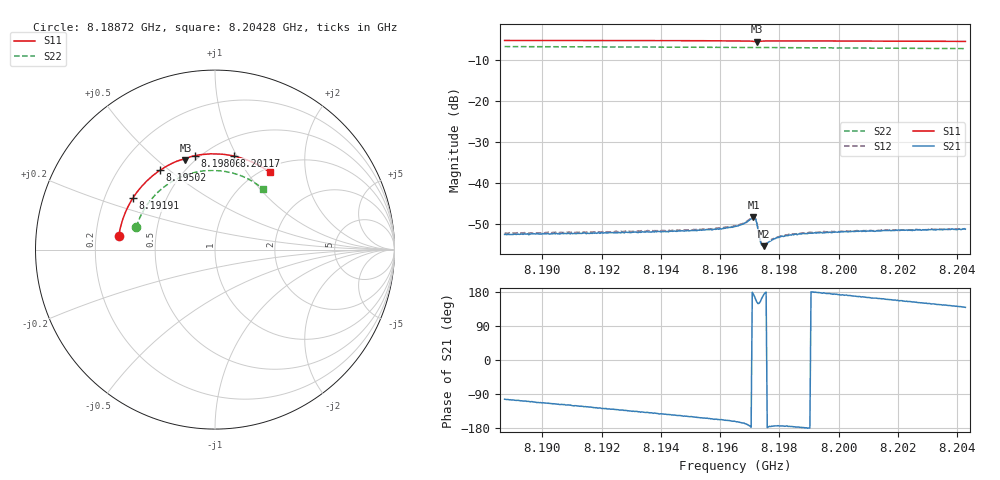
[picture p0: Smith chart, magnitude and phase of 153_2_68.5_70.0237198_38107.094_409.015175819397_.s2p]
#  HZ  S  RI  R  50.00
! Rohde & Schwarz Vector Network Analyzer
! Rohde-Schwarz,ZNB20-2Port,1311601062101988,3.16
! Created: UTC 3/20/2024, 4:55:22 PM
! freq[Hz]  re:S11  im:S11  re:S21  im:S21  re:S12  im:S12  re:S22  im:S22
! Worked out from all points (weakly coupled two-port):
!   401 points, 8.18872 GHz to 8.20428 GHz, reference 50 ohm
!   highest |S21| = -48.36 dB at 8.19712 GHz (marker M1); lowest = -55.4 dB at 8.19747 GHz (marker M2)
!   lowest |S11| = -5.6 dB at 8.19724 GHz (marker M3), VSWR 3.20, Z = 22.6 + j31 ohm
!   |S11| at or under -10 dB: nowhere
!   |S22| runs from -7.3 to -6.8 dB; largest |S21 - S12| = 0.0002
!   S11 on the Smith chart (normalised r, x): 8.18872 GHz: 0.30, +0.07; 8.19191 GHz: 0.32, +0.26; 8.19502 GHz: 0.37, +0.46; 8.19806 GHz: 0.47, +0.69; 8.20117 GHz: 0.67, +0.97; 8.20428 GHz: 1.08, +1.29
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8.188723e9  -0.5358 0.0777  -0.000555 -0.0023  -0.000607 -0.00237  -0.4386 0.1255
8.191328e9  -0.4787 0.2505  -0.0013 -0.00206  -0.00141 -0.0021  -0.3749 0.2543
8.191911e9  -0.4581 0.2858  -0.00146 -0.00199  -0.00158 -0.00199  -0.355 0.28
8.193933e9  -0.3669 0.3945  -0.00204 -0.00157  -0.00212 -0.00154  -0.2733 0.3568
8.195022e9  -0.3067 0.4421  -0.00227 -0.00135  -0.00237 -0.00128  -0.222 0.3892
8.1958e9  -0.2594 0.4706  -0.00252 -0.00109  -0.00261 -0.00104  -0.1826 0.4077
8.1965e9  -0.2137 0.4919  -0.00281 -0.000928  -0.0029 -0.000803  -0.1457 0.421
8.196811e9  -0.1916 0.4996  -0.00314 -0.000741  -0.00323 -0.000599  -0.1289 0.4259
8.197044e9  -0.1729 0.5022  -0.00365 -0.00016  -0.00374 1.26e-05  -0.1163 0.4292
8.197122e9  -0.1669 0.5004  -0.00379 0.00044  -0.00385 0.000596  -0.112 0.4301
8.197161e9  -0.1647 0.4989  -0.00371 0.00084  -0.00371 0.00102  -0.1098 0.4304
8.1972e9  -0.1641 0.4971  -0.00338 0.00127  -0.00338 0.00141  -0.1079 0.431
8.197238e9  -0.1647 0.4967  -0.00286 0.00148  -0.00286 0.00162  -0.1057 0.4313
8.197355e9  -0.1638 0.5029  -0.00175 0.000846  -0.00177 0.00097  -0.0995 0.4328
8.197394e9  -0.1619 0.5054  -0.00168 0.000562  -0.0017 0.000626  -0.0973 0.4332
8.197472e9  -0.1564 0.5093  -0.00169 0.000216  -0.00171 0.000262  -0.093 0.4341
8.197783e9  -0.1334 0.5181  -0.00204 -0.000202  -0.00208 -0.000145  -0.0756 0.437
8.198055e9  -0.1139 0.5228  -0.00223 -0.000241  -0.00227 -0.000121  -0.0603 0.4389
8.199105e9  -0.0393 0.5328  -0.00245 1.18e-05  -0.0025 0.000131  -0.00108 0.4411
8.201166e9  0.1058 0.5213  -0.00249 0.000746  -0.00249 0.000858  0.114 0.422
8.20171e9  0.143 0.5116  -0.00249 0.000936  -0.00246 0.00101  0.1435 0.4119
8.204277e9  0.3046 0.4306  -0.00207 0.0018  -0.00203 0.00188  0.2694 0.3364
